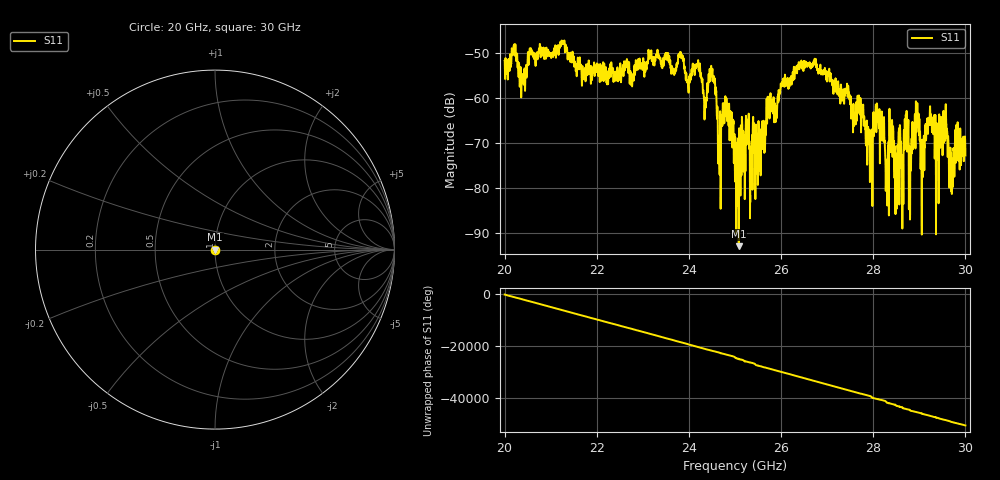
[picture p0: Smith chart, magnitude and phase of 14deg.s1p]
#  HZ  S  RI  R  50.00
! Rohde & Schwarz ZVA40 4Ports - Version 3.90 - 1145.1110k42 SN: 100403
! Date: 2023-10-03 10:25:09
! Measurement: S12
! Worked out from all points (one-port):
!   5001 points, 20 GHz to 30 GHz, reference 50 ohm
!   lowest |S11| = -92.9 dB at 25.08 GHz (marker M1), VSWR 1.00, Z = 50 - j0.00206 ohm
!   |S11| at or under -10 dB: start of sweep to end of sweep
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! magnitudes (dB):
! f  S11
! 20 GHz  -51.7
! 20.4 GHz  -56.5
! 21.25 GHz  -48.0
! 22.5 GHz  -55.5
! 23.75 GHz  -52.4
! 24.19 GHz  -52.4
! 24.35 GHz  -61.6
! 24.52 GHz  -55.8
! 24.65 GHz  -70.5
! 24.82 GHz  -64.2
! 25 GHz  -78.6
! 25.08 GHz  -92.9
! 25.51 GHz  -65.9
! 25.73 GHz  -62.7
! 26.25 GHz  -54.6
! 27.5 GHz  -61.4
! 27.94 GHz  -69.0
! 28.09 GHz  -64.6
! 28.29 GHz  -76.1
! 28.39 GHz  -68.6
! 28.49 GHz  -81.2
! 28.75 GHz  -66.7
! 28.95 GHz  -61.8
! 29.07 GHz  -74.6
! 29.22 GHz  -65.4
! 29.54 GHz  -69.6
! 29.69 GHz  -73.5
! 30 GHz  -72.8
